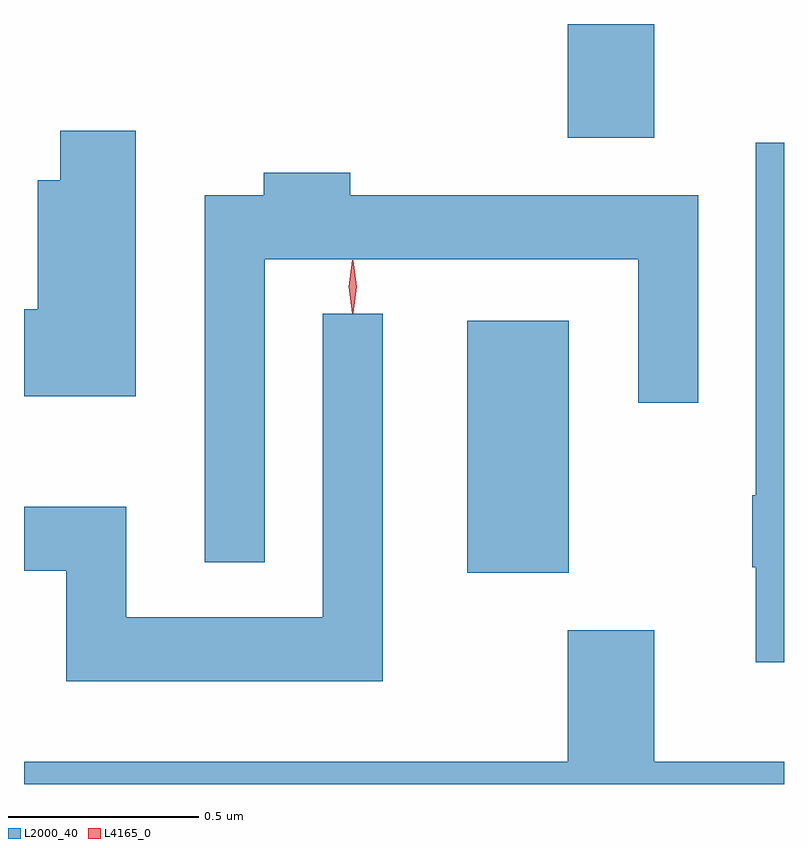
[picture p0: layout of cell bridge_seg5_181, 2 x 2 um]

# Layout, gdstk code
import gdstk
lib = gdstk.Library(unit=1e-6, precision=1e-09)
def R(c, l, rs):  # rectangles x0, y0, x1, y1
    for r in rs: c.add(gdstk.rectangle(r[:2], r[2:], *l))
def P(c, l, *ps):  # polygons
    for p in ps: c.add(gdstk.Polygon(p, *l))
L2000_40 = (2000, 40)
L4165_0 = (4165, 0)

bridge_seg5_181 = lib.new_cell('bridge_seg5_181')
R(bridge_seg5_181, L2000_40, [(1340.426,1430.921,1340.694,1431.584), (1340.691,1432.066,1340.919,1432.365)])
P(bridge_seg5_181, L2000_40, [(1339.554,1432.084),(1339.356,1432.084),(1339.356,1431.954),(1339.296,1431.954),(1339.296,1431.614),(1339.26,1431.614),(1339.26,1431.386),(1339.554,1431.386)],
  [(1341.26,1432.053),(1341.186,1432.053),(1341.186,1431.125),(1341.176,1431.125),(1341.176,1430.935),(1341.186,1430.935),(1341.186,1430.686),(1341.26,1430.686)],
  [(1339.894,1431.746),(1340.876,1431.746),(1340.876,1431.368),(1341.034,1431.368),(1341.034,1431.914),(1340.119,1431.914),(1340.119,1431.974),(1339.891,1431.974),(1339.891,1431.914),(1339.736,1431.914),(1339.736,1430.948),(1339.894,1430.948)],
  [(1340.204,1431.603),(1340.046,1431.603),(1340.046,1430.804),(1339.529,1430.804),(1339.529,1431.094),(1339.26,1431.094),(1339.26,1430.926),(1339.371,1430.926),(1339.371,1430.636),(1340.204,1430.636)],
  [(1341.26,1430.424),(1340.919,1430.424),(1340.919,1430.769),(1340.691,1430.769),(1340.691,1430.424),(1339.26,1430.424),(1339.26,1430.365),(1341.26,1430.365)])
P(bridge_seg5_181, L4165_0, [(1340.124,1431.604),(1340.115,1431.674),(1340.124,1431.743),(1340.125,1431.743),(1340.126,1431.743),(1340.135,1431.674),(1340.126,1431.604),(1340.125,1431.604)],
  [(1340.125,1431.607),(1340.124,1431.608),(1340.114,1431.674),(1340.124,1431.74),(1340.124,1431.74),(1340.125,1431.74),(1340.134,1431.674),(1340.125,1431.608)])

lib.write_gds('bridge_seg5_181.gds')
